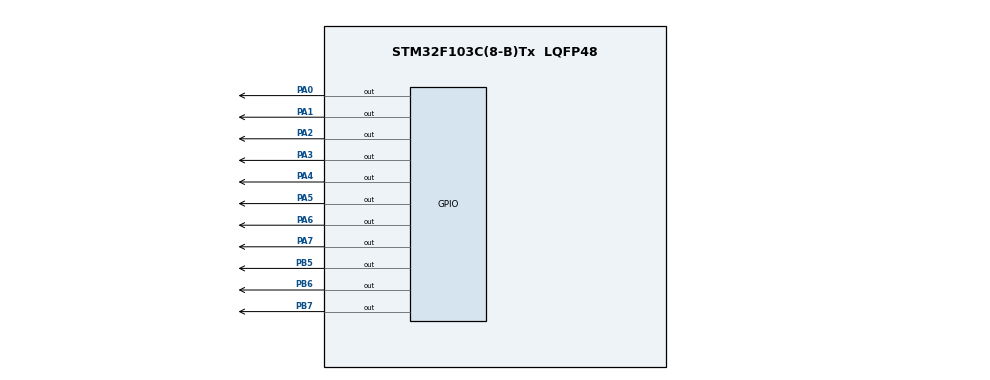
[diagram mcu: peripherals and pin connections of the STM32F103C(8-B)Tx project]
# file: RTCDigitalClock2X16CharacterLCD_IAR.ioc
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Mcu.Family=STM32F1
Mcu.Name=STM32F103C(8-B)Tx
Mcu.Package=LQFP48
NVIC.PriorityGroup=NVIC_PRIORITYGROUP_4
PA0-WKUP.Signal=GPIO_Output
PA1.Signal=GPIO_Output
PA13.Mode=Serial_Wire
PA13.Signal=SYS_JTMS-SWDIO
PA14.Mode=Serial_Wire
PA14.Signal=SYS_JTCK-SWCLK
PA2.Signal=GPIO_Output
PA3.Signal=GPIO_Output
PA4.Signal=GPIO_Output
PA5.Signal=GPIO_Output
PA6.Signal=GPIO_Output
PA7.Signal=GPIO_Output
PB5.Signal=GPIO_Output
PB6.Signal=GPIO_Output
PB7.Signal=GPIO_Output
PC14-OSC32_IN.Mode=LSE-External-Oscillator
PC14-OSC32_IN.Signal=RCC_OSC32_IN
PC15-OSC32_OUT.Mode=LSE-External-Oscillator
PC15-OSC32_OUT.Signal=RCC_OSC32_OUT
PD0-OSC_IN.Mode=HSE-External-Oscillator
PD0-OSC_IN.Signal=RCC_OSC_IN
PD1-OSC_OUT.Mode=HSE-External-Oscillator
PD1-OSC_OUT.Signal=RCC_OSC_OUT
ProjectManager.HeapSize=0x200
ProjectManager.StackSize=0x400
ProjectManager.TargetToolchain=EWARM V8.32
RCC.APB1Freq_Value=8000000
RCC.APB2Freq_Value=8000000
RCC.RTCClockSelection=RCC_RTCCLKSOURCE_LSE
RCC.SYSCLKSource=RCC_SYSCLKSOURCE_HSE
RTC.Format=RTC_FORMAT_BIN
RTC.Hours=0
RTC.Minutes=0
RTC.Year=23
VP_RTC_VS_RTC_Activate.Mode=RTC_Enabled
VP_RTC_VS_RTC_Calendar.Mode=RTC_Calendar
board=custom

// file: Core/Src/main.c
/* USER CODE BEGIN Header */
/**
  ******************************************************************************
  * @file           : main.c
  * @brief          : Main program body
  ******************************************************************************
  * @attention
  *
  * Copyright (c) 2023 STMicroelectronics.
  * All rights reserved.
  *
  * This software is licensed under terms that can be found in the LICENSE file
  * in the root directory of this software component.
  * If no LICENSE file comes with this software, it is provided AS-IS.
  *
  ******************************************************************************
  */
/* USER CODE END Header */
#include "main.h"

/* USER CODE BEGIN Includes */

#include "LCD/lcd.h"
#include <stdio.h>

/* USER CODE END Includes */

RTC_HandleTypeDef hrtc;

void SystemClock_Config(void);
static void MX_GPIO_Init(void);
static void MX_RTC_Init(void);

/* USER CODE BEGIN 0 */

RTC_TimeTypeDef Time;

/* USER CODE END 0 */

int main(void)
{
  /* USER CODE BEGIN 1 */

  char str[17];

  /* USER CODE END 1 */

  /* MCU Configuration--------------------------------------------------------*/

  /* Reset of all peripherals, Initializes the Flash interface and the Systick. */
  HAL_Init();

  /* Configure the system clock */
  SystemClock_Config();

  /* Initialize all configured peripherals */
  MX_GPIO_Init();
  MX_RTC_Init();
  /* USER CODE BEGIN 2 */

  lcd_init();
  lcd_clear();

  lcd_gotoxy(0,0);
  lcd_puts("  dibadigital  ");
  HAL_Delay(2000);
  lcd_clear();

  Time.Hours = 9;
  Time.Minutes = 33;
  Time.Seconds = 20;

  HAL_RTC_SetTime(&hrtc, &Time, RTC_FORMAT_BIN);

  /* USER CODE END 2 */

  /* Infinite loop */
  /* USER CODE BEGIN WHILE */
  while (1)
  {
    HAL_RTC_GetTime(&hrtc, &Time, RTC_FORMAT_BIN);

    sprintf(str,"%02d:%02d:%02d", Time.Hours, Time.Minutes, Time.Seconds);
    lcd_gotoxy(0, 0);
    lcd_puts(str);

    /* USER CODE END WHILE */

  }
}

void SystemClock_Config(void)
{
  RCC_OscInitTypeDef RCC_OscInitStruct = {0};
  RCC_ClkInitTypeDef RCC_ClkInitStruct = {0};
  RCC_PeriphCLKInitTypeDef PeriphClkInit = {0};

  /** Initializes the RCC Oscillators according to the specified parameters
  * in the RCC_OscInitTypeDef structure.
  */
  RCC_OscInitStruct.OscillatorType = RCC_OSCILLATORTYPE_HSE|RCC_OSCILLATORTYPE_LSE;
  RCC_OscInitStruct.HSEState = RCC_HSE_ON;
  RCC_OscInitStruct.LSEState = RCC_LSE_ON;
  RCC_OscInitStruct.PLL.PLLState = RCC_PLL_NONE;
  if (HAL_RCC_OscConfig(&RCC_OscInitStruct) != HAL_OK)
  {
    Error_Handler();
  }

  /** Initializes the CPU, AHB and APB buses clocks
  */
  RCC_ClkInitStruct.ClockType = RCC_CLOCKTYPE_HCLK|RCC_CLOCKTYPE_SYSCLK
                              |RCC_CLOCKTYPE_PCLK1|RCC_CLOCKTYPE_PCLK2;
  RCC_ClkInitStruct.SYSCLKSource = RCC_SYSCLKSOURCE_HSE;
  RCC_ClkInitStruct.AHBCLKDivider = RCC_SYSCLK_DIV1;
  RCC_ClkInitStruct.APB1CLKDivider = RCC_HCLK_DIV1;
  RCC_ClkInitStruct.APB2CLKDivider = RCC_HCLK_DIV1;

  if (HAL_RCC_ClockConfig(&RCC_ClkInitStruct, FLASH_LATENCY_0) != HAL_OK)
  {
    Error_Handler();
  }
  PeriphClkInit.PeriphClockSelection = RCC_PERIPHCLK_RTC;
  PeriphClkInit.RTCClockSelection = RCC_RTCCLKSOURCE_LSE;
  if (HAL_RCCEx_PeriphCLKConfig(&PeriphClkInit) != HAL_OK)
  {
    Error_Handler();
  }
}

static void MX_RTC_Init(void)
{

  RTC_TimeTypeDef sTime = {0};
  RTC_DateTypeDef DateToUpdate = {0};

  /** Initialize RTC Only
  */
  hrtc.Instance = RTC;
  hrtc.Init.AsynchPrediv = RTC_AUTO_1_SECOND;
  hrtc.Init.OutPut = RTC_OUTPUTSOURCE_ALARM;
  if (HAL_RTC_Init(&hrtc) != HAL_OK)
  {
    Error_Handler();
  }

  /* USER CODE BEGIN Check_RTC_BKUP */

  HAL_PWR_EnableBkUpAccess(); //Enable access to registers
  uint32_t rgData = HAL_RTCEx_BKUPRead(&hrtc, RTC_BKP_DR1); //Get first register

  if(rgData != 0xaa55aa55) //if we don't have a backup battery, we don't have 0xaa55aa55 in the rgData
  {

  /* USER CODE END Check_RTC_BKUP */

  /** Initialize RTC and set the Time and Date
  */
  sTime.Hours = 0;
  sTime.Minutes = 0;
  sTime.Seconds = 0;

  if (HAL_RTC_SetTime(&hrtc, &sTime, RTC_FORMAT_BIN) != HAL_OK)
  {
    Error_Handler();
  }
  DateToUpdate.WeekDay = RTC_WEEKDAY_MONDAY;
  DateToUpdate.Month = RTC_MONTH_JANUARY;
  DateToUpdate.Date = 1;
  DateToUpdate.Year = 23;

  if (HAL_RTC_SetDate(&hrtc, &DateToUpdate, RTC_FORMAT_BIN) != HAL_OK)
  {
    Error_Handler();
  }
  /* USER CODE BEGIN RTC_Init 2 */

  HAL_RTCEx_BKUPWrite(&hrtc, RTC_BKP_DR1, 0xaa55aa55); //Write 0xaa55aa55 in the first register
  }

  /* USER CODE END RTC_Init 2 */

}

static void MX_GPIO_Init(void)
{
  GPIO_InitTypeDef GPIO_InitStruct = {0};

  /* GPIO Ports Clock Enable */
  __HAL_RCC_GPIOC_CLK_ENABLE();
  __HAL_RCC_GPIOD_CLK_ENABLE();
  __HAL_RCC_GPIOA_CLK_ENABLE();
  __HAL_RCC_GPIOB_CLK_ENABLE();

  /*Configure GPIO pin Output Level */
  HAL_GPIO_WritePin(GPIOA, GPIO_PIN_0|GPIO_PIN_1|GPIO_PIN_2|GPIO_PIN_3
                          |GPIO_PIN_4|GPIO_PIN_5|GPIO_PIN_6|GPIO_PIN_7, GPIO_PIN_RESET);

  /*Configure GPIO pin Output Level */
  HAL_GPIO_WritePin(GPIOB, GPIO_PIN_5|GPIO_PIN_6|GPIO_PIN_7, GPIO_PIN_RESET);

  /*Configure GPIO pins : PA0 PA1 PA2 PA3
                           PA4 PA5 PA6 PA7 */
  GPIO_InitStruct.Pin = GPIO_PIN_0|GPIO_PIN_1|GPIO_PIN_2|GPIO_PIN_3
                          |GPIO_PIN_4|GPIO_PIN_5|GPIO_PIN_6|GPIO_PIN_7;
  GPIO_InitStruct.Mode = GPIO_MODE_OUTPUT_PP;
  GPIO_InitStruct.Pull = GPIO_NOPULL;
  GPIO_InitStruct.Speed = GPIO_SPEED_FREQ_LOW;
  HAL_GPIO_Init(GPIOA, &GPIO_InitStruct);

  /*Configure GPIO pins : PB5 PB6 PB7 */
  GPIO_InitStruct.Pin = GPIO_PIN_5|GPIO_PIN_6|GPIO_PIN_7;
  GPIO_InitStruct.Mode = GPIO_MODE_OUTPUT_PP;
  GPIO_InitStruct.Pull = GPIO_NOPULL;
  GPIO_InitStruct.Speed = GPIO_SPEED_FREQ_LOW;
  HAL_GPIO_Init(GPIOB, &GPIO_InitStruct);

}

void Error_Handler(void)
{
  __disable_irq();
  while (1)
  {
  }
}
